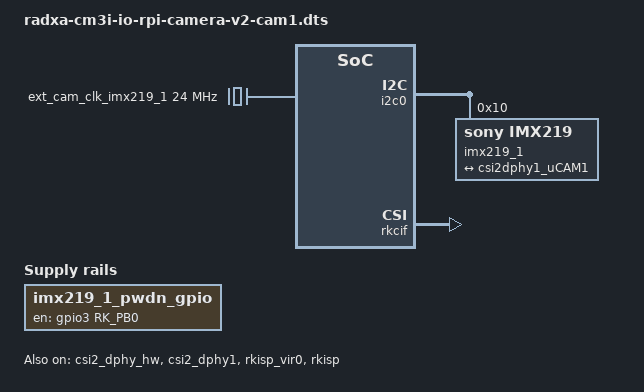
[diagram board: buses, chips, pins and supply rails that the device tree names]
/dts-v1/;
/plugin/;

#include <dt-bindings/gpio/gpio.h>
#include <dt-bindings/pinctrl/rockchip.h>

/ {
	metadata {
		title = "Enable Raspberry Pi Camera v2 on CAM1";
		compatible = "radxa,cm3i-io";
		category = "camera";
		exclusive = "csi2_dphy1";
		description = "Enable Raspberry Pi Camera v2 on CAM1.";
	};
};

&{/} {
	ext_cam_clk_imx219_1: ext-cam-clk-imx219-1 {
		status = "okay";
		compatible = "fixed-clock";
		clock-frequency = <24000000>;
		clock-output-names = "ext_cam_clk_imx219_1";
		#clock-cells = <0>;
	};

	imx219_1_pwdn_gpio: imx219-1-pwdn-gpio {
		status = "okay";
		compatible = "regulator-fixed";
		regulator-name = "imx219_1_pwdn_gpio";
		regulator-always-on;
		regulator-boot-on;
		enable-active-high;
		gpio = <&gpio3 RK_PB0 GPIO_ACTIVE_HIGH>;
	};
};

&i2c0 {
	status = "okay";
	pinctrl-names = "default";
	pinctrl-0 = <&i2c0_xfer>;

	#address-cells = <1>;
	#size-cells = <0>;

	imx219_1: imx219-1@10 {
		status = "okay";
		compatible = "sony,imx219";
		reg = <0x10>;
		clocks = <&ext_cam_clk_imx219_1>;
		clock-names = "xvclk";
		rockchip,camera-module-index = <0>;
		rockchip,camera-module-facing = "front";
		rockchip,camera-module-name = "rpi-camera-v2";
		rockchip,camera-module-lens-name = "default";

		port {
			imx219_1_out: endpoint {
				remote-endpoint = <&csi2dphy1_uCAM1>;
				data-lanes = <1 2>;
			};
		};
	};
};

&csi2_dphy_hw {
	status = "okay";
};

&csi2_dphy1 {
	status = "okay";

	ports {
		#address-cells = <1>;
		#size-cells = <0>;

		port@0 {
			reg = <0>;
			#address-cells = <1>;
			#size-cells = <0>;

			csi2dphy1_uCAM1: endpoint@1 {
				reg = <1>;
				remote-endpoint = <&imx219_1_out>;
				data-lanes = <1 2>;
			};
		};

		port@1 {
			reg = <1>;
			#address-cells = <1>;
			#size-cells = <0>;

			csi2dphy1_out: endpoint@1 {
				reg = <1>;
				remote-endpoint = <&isp0_in>;
			};
		};
	};
};

&rkisp_vir0 {
	status = "okay";

	port {
		#address-cells = <1>;
		#size-cells = <0>;

		isp0_in: endpoint@0 {
			reg = <0>;
			remote-endpoint = <&csi2dphy1_out>;
		};
	};
};

&rkisp {
	status = "okay";
};

&rkisp_mmu {
	status = "okay";
};

&rkcif_mmu {
	status = "okay";
};

&rkcif {
	status = "okay";
};
